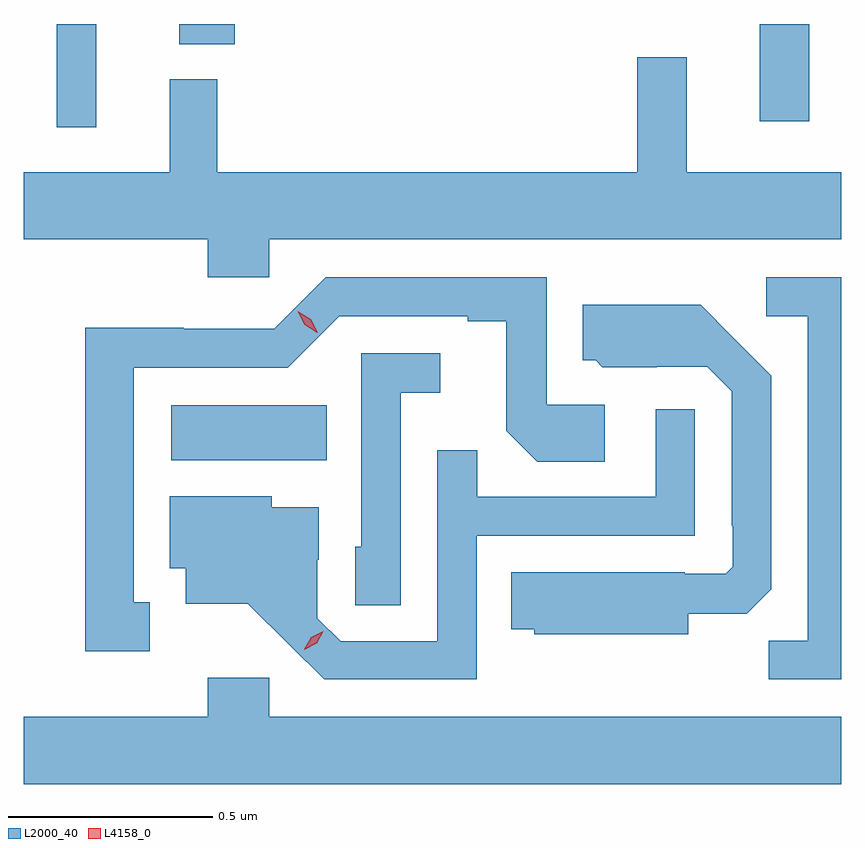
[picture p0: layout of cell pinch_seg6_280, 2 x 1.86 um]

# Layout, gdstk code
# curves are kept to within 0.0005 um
import gdstk
lib = gdstk.Library(unit=1e-6, precision=1e-09)
def R(c, l, rs):  # rectangles x0, y0, x1, y1
    for r in rs: c.add(gdstk.rectangle(r[:2], r[2:], *l))
def P(c, l, *ps):  # polygons
    for p in ps: c.add(gdstk.Polygon(p, *l))
L2000_40 = (2000, 40)
L4158_0 = (4158, 0)

pinch_seg6_280 = lib.new_cell('pinch_seg6_280')
R(pinch_seg6_280, L2000_40, [(881.742,994.748,882.122,994.882), (881.462,995.562,881.559,995.815), (883.181,995.577,883.303,995.815), (881.762,995.765,881.897,995.815)])
P(pinch_seg6_280, L2000_40, [(881.982,995.288),(883.381,995.288),(883.381,995.452),(883.003,995.452),(883.003,995.734),(882.882,995.734),(882.882,995.452),(881.855,995.452),(881.855,995.68),(881.738,995.68),(881.738,995.452),(881.381,995.452),(881.381,995.288),(881.831,995.288),(881.831,995.195),(881.982,995.195)],
  [(883.381,995.196),(883.197,995.196),(883.197,995.1),(883.299,995.1),(883.299,994.307),(883.204,994.307),(883.204,994.212),(883.381,994.212)],
  [(881.689,994.401),(881.65,994.401),(881.65,994.974),(882.027,994.974),(882.153,995.1),(882.467,995.1),(882.467,995.088),(882.561,995.088),(882.561,994.82),(882.637,994.744),(882.802,994.744),(882.802,994.884),(882.66,994.884),(882.66,995.196),(882.12,995.196),(881.994,995.07),(881.772,995.07),(881.772,995.072),(881.532,995.072),(881.532,994.281),(881.689,994.281)],
  [(883.006,994.373),(883.15,994.373),(883.209,994.432),(883.209,994.954),(883.037,995.128),(882.749,995.128),(882.749,994.992),(882.78,994.992),(882.796,994.976),(882.93,994.976),(882.93,994.977),(883.053,994.977),(883.113,994.917),(883.113,994.588),(883.116,994.588),(883.116,994.488),(883.098,994.47),(882.998,994.47),(882.998,994.474),(882.574,994.474),(882.574,994.334),(882.63,994.334),(882.63,994.322),(883.006,994.322)],
  [(882.303,994.913),(882.4,994.913),(882.4,995.01),(882.207,995.01),(882.207,994.536),(882.192,994.536),(882.192,994.393),(882.303,994.393)],
  [(882.489,994.563),(883.023,994.563),(883.023,994.873),(882.927,994.873),(882.927,994.659),(882.491,994.659),(882.491,994.772),(882.393,994.772),(882.393,994.305),(882.156,994.305),(882.099,994.362),(882.099,994.504),(882.103,994.504),(882.103,994.633),(881.988,994.633),(881.988,994.66),(881.738,994.66),(881.738,994.484),(881.777,994.484),(881.777,994.397),(881.929,994.397),(882.116,994.212),(882.489,994.212)],
  [(883.381,994.12),(881.982,994.12),(881.982,994.216),(881.831,994.216),(881.831,994.12),(881.381,994.12),(881.381,993.956),(883.381,993.956)])
P(pinch_seg6_280, L4158_0, [(882.067,994.284),(882.067,994.285),(882.084,994.315),(882.114,994.33),(882.114,994.33),(882.114,994.33),(882.098,994.3),(882.067,994.284)],
  [(882.099,995.06),(882.068,995.079),(882.051,995.112),(882.051,995.112),(882.051,995.112),(882.083,995.093),(882.1,995.06),(882.1,995.06)])

lib.write_gds('pinch_seg6_280.gds')
